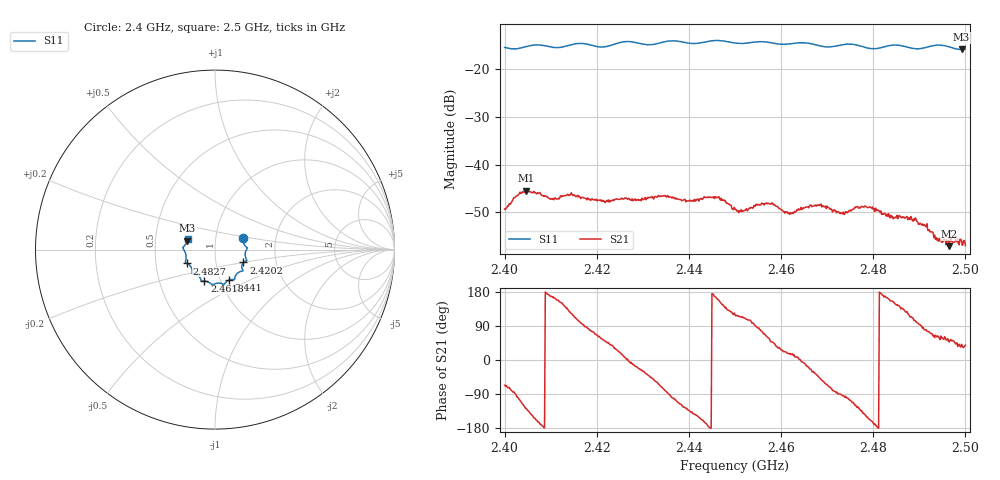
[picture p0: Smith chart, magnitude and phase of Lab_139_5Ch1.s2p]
# Hz S RI R 50
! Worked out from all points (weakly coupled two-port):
!   601 points, 2.4 GHz to 2.5 GHz, reference 50 ohm
!   highest |S21| = -45.42 dB at 2.4047 GHz (marker M1); lowest = -57.1 dB at 2.4965 GHz (marker M2)
!   lowest |S11| = -15.8 dB at 2.4992 GHz (marker M3), VSWR 1.39, Z = 36.5 + j3.67 ohm
!   |S11| at or under -10 dB: start of sweep to end of sweep
!   S12 and S22 are empty: the file has one direction only
!   S11 on the Smith chart (normalised r, x): 2.4 GHz: 1.36, +0.18; 2.4202 GHz: 1.36, -0.20; 2.441 GHz: 1.10, -0.39; 2.4618 GHz: 0.84, -0.30; 2.4827 GHz: 0.72, -0.12; 2.5 GHz: 0.73, +0.09
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2.4e9  0.1584 0.0625  0.00134 -0.00315  0 0  0 0
2.404667e9  0.173 0.0155  -0.00325 -0.00426  0 0  0 0
2.410167e9  0.1714 -0.00765  -0.00432 0.000933  0 0  0 0
2.416667e9  0.1775 -0.0606  -0.000529 0.0045  0 0  0 0
2.420167e9  0.1582 -0.0714  0.00181 0.00386  0 0  0 0
2.433333e9  0.1117 -0.1507  0.00214 -0.00425  0 0  0 0
2.441e9  0.0786 -0.1698  -0.00326 -0.00255  0 0  0 0
2.446167e9  0.05 -0.1952  -0.00428 0.00149  0 0  0 0
2.45e9  0.0282 -0.1871  -0.0017 0.00299  0 0  0 0
2.457667e9  -0.0227 -0.1899  0.00252 0.00298  0 0  0 0
2.461833e9  -0.0592 -0.1758  0.00291 0.000825  0 0  0 0
2.466667e9  -0.0786 -0.1683  0.00317 -0.00177  0 0  0 0
2.473333e9  -0.122 -0.1347  -0.000226 -0.00305  0 0  0 0
2.478667e9  -0.1284 -0.1087  -0.00309 -0.0018  0 0  0 0
2.482667e9  -0.1561 -0.0773  -0.00294 0.000662  0 0  0 0
2.483333e9  -0.1604 -0.0754  -0.00289 0.00101  0 0  0 0
2.488667e9  -0.161 -0.0412  -0.00085 0.00241  0 0  0 0
2.491167e9  -0.1685 -0.00965  0.000426 0.00226  0 0  0 0
2.493667e9  -0.1796 0.00775  0.000779 0.00153  0 0  0 0
2.4965e9  -0.1712 0.0198  0.000939 0.00104  0 0  0 0
2.499167e9  -0.1544 0.049  0.0012 0.00106  0 0  0 0
2.5e9  -0.152 0.0607  0.0011 0.000895  0 0  0 0
